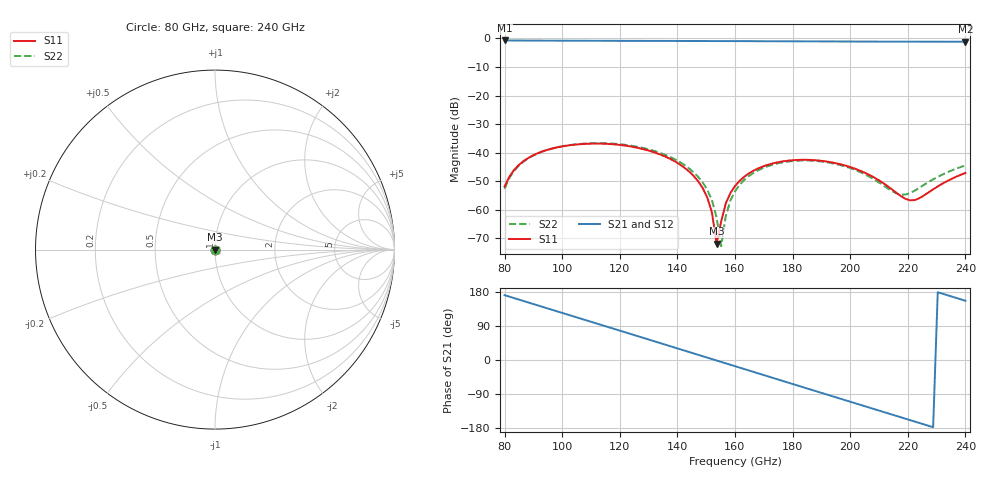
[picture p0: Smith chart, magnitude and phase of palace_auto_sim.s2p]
#  GHZ S DB R 50
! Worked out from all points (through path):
!   101 points, 80 GHz to 240 GHz, reference 50 ohm
!   highest |S21| = -0.72 dB at 80 GHz (marker M1); lowest = -1.2 dB at 240 GHz (marker M2)
!   group delay of S21, straight-line fit = 6.51 ps
!   lowest |S11| = -71.9 dB at 153.6 GHz (marker M3), VSWR 1.00, Z = 50 - j0.0226 ohm
!   |S11| at or under -10 dB: start of sweep to end of sweep
!   |S22| runs from -72.7 to -36.7 dB; largest |S21 - S12| = 1e-13
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80  -51.83 7.5  -0.72 171.1  -0.72 171.1  -52.63 7.7
83.2  -46.15 -0.8  -0.73 163.6  -0.73 163.6  -46.48 -0.9
89.6  -41.08 -15.9  -0.76 148.6  -0.76 148.6  -41.17 -16.4
107.2  -36.96 -55.8  -0.82 107.4  -0.82 107.4  -36.85 -56.6
120  -37.28 -86.2  -0.85 77.5  -0.85 77.5  -37.03 -87.1
134.4  -40.77 -122.8  -0.88 43.8  -0.88 43.8  -40.23 -123.7
142.4  -45.21 -143.4  -0.90 25.0  -0.90 25.0  -44.27 -144.4
148.8  -52.42 -158.0  -0.92 10.0  -0.92 10.0  -50.45 -159.8
152  -60.97 -158.0  -0.93 2.4  -0.93 2.4  -56.64 -164.1
153.6  -71.87 -117.5  -0.93 -1.3  -0.93 -1.3  -62.62 -159.5
155.2  -64.06 -21.6  -0.94 -5.1  -0.94 -5.1  -72.72 -84.5
156.8  -57.72 -15.4  -0.94 -8.8  -0.94 -8.8  -62.18 -23.7
160  -51.69 -19.6  -0.95 -16.3  -0.95 -16.3  -53.52 -21.9
164.8  -47.27 -31.6  -0.97 -27.6  -0.97 -27.6  -48.18 -32.9
169.6  -44.86 -45.0  -0.98 -38.9  -0.98 -38.9  -45.43 -46.1
187.2  -42.59 -99.0  -1.05 -80.2  -1.05 -80.2  -42.82 -100.1
200  -45.03 -143.1  -1.09 -110.1  -1.09 -110.1  -45.39 -145.4
214.4  -52.77 148.8  -1.13 -143.7  -1.13 -143.7  -53.37 133.2
217.6  -55.19 122.0  -1.13 -151.2  -1.13 -151.2  -54.69 98.9
222.4  -56.58 65.7  -1.14 -162.4  -1.14 -162.4  -53.28 47.6
230.4  -51.80 -1.8  -1.15 178.8  -1.15 178.8  -48.46 -2.2
240  -47.09 -44.3  -1.16 156.3  -1.16 156.3  -44.46 -39.3
